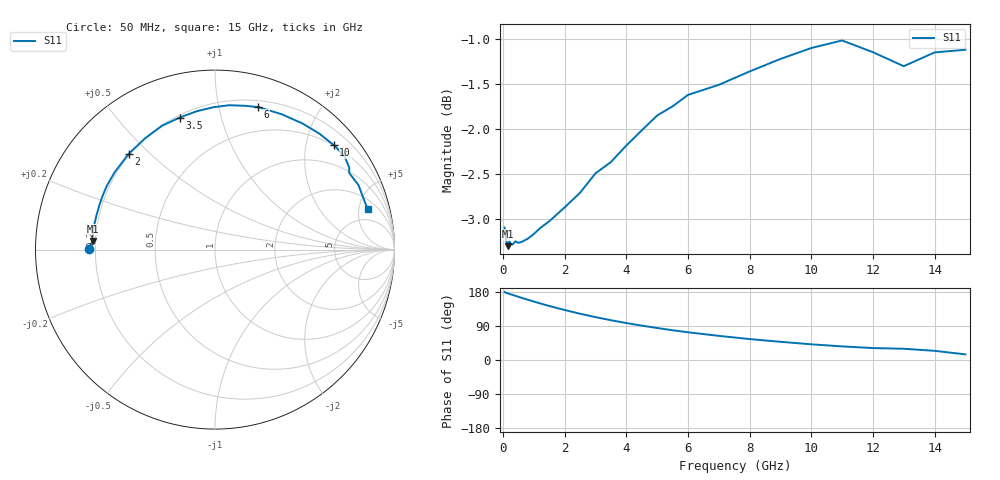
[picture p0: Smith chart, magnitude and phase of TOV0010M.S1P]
! SIEMENS Small Signal Semiconductors
! BAT15-03W
! Si Schottky Diode in SOD323
! IF = 10 mA
! S-Parameters:  May  1996
# GHz  S  MA  R  50
!  f  S11
! GHz  MAG  ANG
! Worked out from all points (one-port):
!   31 points, 50 MHz to 15 GHz, reference 50 ohm
!   lowest |S11| = -3.3 dB at 150 MHz (marker M1), VSWR 5.32, Z = 9.41 + j1.68 ohm
!   |S11| at or under -10 dB: nowhere
!   S11 on the Smith chart (normalised r, x): 50 MHz: 0.18, +0.00; 2 GHz: 0.20, +0.43; 3.5 GHz: 0.21, +0.75; 6 GHz: 0.26, +1.32; 10 GHz: 0.49, +2.56; 15 GHz: 3.11, +6.17
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0.05  0.7 179.7
0.1  0.6887 176.9
0.15  0.6835 176.0
0.2  0.6879 174.6
0.3  0.6848 172.1
0.4  0.6878 169.4
0.8  0.6901 159.1
1  0.6944 154.2
1.2  0.6996 149.4
1.5  0.7058 142.5
2  0.7185 131.9
2.5  0.7321 122.1
3  0.7506 113.1
3.5  0.7615 105.0
4  0.7778 97.5
4.5  0.7931 90.7
5  0.8083 84.4
5.5  0.8178 78.5
6  0.83 73.1
7  0.8407 63.7
8  0.8553 55.2
9  0.8691 48.0
10  0.8814 41.4
11  0.89 35.9
12  0.8767 31.5
13  0.8611 29.7
14  0.8764 24.2
15  0.8795 14.8
